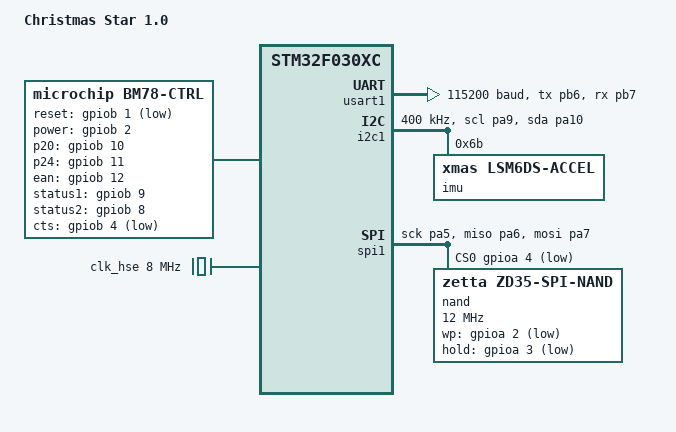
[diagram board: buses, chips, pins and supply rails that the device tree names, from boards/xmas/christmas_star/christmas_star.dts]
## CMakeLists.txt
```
# Copyright (c) 2024-2026 Tuomas Terho
# SPDX-License-Identifier: MIT

cmake_minimum_required(VERSION 3.20.0)

list(APPEND BOARD_ROOT ${CMAKE_CURRENT_SOURCE_DIR})
list(APPEND DTS_ROOT ${CMAKE_CURRENT_SOURCE_DIR})

find_package(Zephyr REQUIRED HINTS $ENV{ZEPHYR_BASE})
project(christmas_star)

target_include_directories(app PRIVATE src)

# Developer key (pairing): 32 hex digits in sw/dev_key.txt, never committed.
# Without the file, or with the environment variable STAR_NO_DEV_KEY=1 (public
# release builds), the firmware accepts no developer key.
set(DEV_KEY_FILE ${CMAKE_CURRENT_SOURCE_DIR}/dev_key.txt)
set(DEV_KEY_PRESENT 0)
set(DEV_KEY_BYTES "0")
if(EXISTS ${DEV_KEY_FILE} AND NOT "$ENV{STAR_NO_DEV_KEY}")
  set_property(DIRECTORY APPEND PROPERTY CMAKE_CONFIGURE_DEPENDS ${DEV_KEY_FILE})
  file(READ ${DEV_KEY_FILE} DEV_KEY_HEX)
  string(STRIP "${DEV_KEY_HEX}" DEV_KEY_HEX)
  string(LENGTH "${DEV_KEY_HEX}" DEV_KEY_LEN)
  if(NOT DEV_KEY_LEN EQUAL 32 OR NOT DEV_KEY_HEX MATCHES "^[0-9a-fA-F]+$")
    message(FATAL_ERROR "sw/dev_key.txt must hold 32 hex digits (16 bytes)")
  endif()
  string(REGEX REPLACE "([0-9a-fA-F][0-9a-fA-F])" "0x\\1," DEV_KEY_BYTES "${DEV_KEY_HEX}")
  set(DEV_KEY_PRESENT 1)
  message(STATUS "Developer key: from sw/dev_key.txt")
else()
  message(STATUS "Developer key: none")
endif()
file(WRITE ${CMAKE_BINARY_DIR}/app_generated/dev_key.h.tmp
  "/* Generated from sw/dev_key.txt. Do not commit. */\n"
  "#pragma once\n#include <stdint.h>\n"
  "#define DEV_KEY_PRESENT ${DEV_KEY_PRESENT}\n"
  "static const uint8_t dev_key[16] = {${DEV_KEY_BYTES}};\n")
configure_file(${CMAKE_BINARY_DIR}/app_generated/dev_key.h.tmp
  ${CMAKE_BINARY_DIR}/app_generated/dev_key.h COPYONLY)
target_include_directories(app PRIVATE ${CMAKE_BINARY_DIR}/app_generated)

target_sources(app PRIVATE
	src/main.c
	src/layout/led_layout.c
	src/layout/led_layout_table.c
	src/led/led_chain.c
	src/led/led_limit.c
	src/led/supply_monitor.c
	src/led/led_spi_dma.c
	src/led/color.c
	src/effects/engine.c
	src/effects/fx_basic.c
	src/effects/fx_golden.c
	src/effects/fx_xmas.c
	src/effects/fx_xmas2.c
	src/effects/shake_overlay.c
	src/effects/fx_player.c
	src/imu/lsm6ds.c
	src/storage/zd35_nand.c
	src/storage/effect_format.c
	src/storage/effect_store.c
	src/transfer/xmodem.c
	src/transfer/stream_frame.c
	src/bt/bm78.c
	src/bt/bm78_ad.c
	src/bt/bm78_eeprom.c
	src/pair/sha256.c
	src/pair/pair_logic.c
	src/pair/pairing.c
	src/game/comet_logic.c
	src/game/game.c
	src/game/fx_cometgame.c
	src/fw/fw_image.c
	src/fw/cmd_fw.c
	src/config/star_settings.c
	src/cli/cmd_led.c
	src/cli/direct_parse.c
	src/cli/cmd_direct.c
	src/cli/cmd_effect.c
	src/cli/cmd_hw.c
	src/cli/cmd_app.c
)
```

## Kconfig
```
# Copyright (c) 2024-2026 Tuomas Terho
# SPDX-License-Identifier: MIT

mainmenu "Christmas Star"

menu "Christmas Star"

config STAR_DEFAULT_MISSING_LEDS
	string "LEDs missing from the chain by default"
	default ""
	help
	  Space-separated list of LEDs (designators such as D259, or logical
	  indexes 0..131) whose pads are bridged on this board, so the data
	  signal skips them (on the first prototype, D259 is bridged). Used
	  until the list is changed with the "led missing" shell command,
	  which stores it in settings.

config STAR_FRAME_RATE
	int "Effect frame rate (frames per second)"
	range 10 100
	default 50

config STAR_DEFAULT_BRIGHTNESS
	int "Default global brightness (0-255)"
	range 0 255
	default 128

config STAR_LED_MA_PER_CHANNEL
	int "Estimated current of one LED colour channel at full scale (mA)"
	default 12
	help
	  Used by the current limiter to estimate the total LED current.

config STAR_DEFAULT_CURRENT_LIMIT_MA
	int "Default total LED current limit (mA)"
	default 600
	help
	  Frames whose estimated current exceeds this limit are dimmed
	  proportionally. On hardware 1.0 the 3V3 rail stays in the BM78's
	  supply range (>= 3.3 V) up to about 550 mA; above that the +5V input
	  sags and the TPS62056 drops out. The firmware also measures the 3V3
	  rail every frame and lowers the limit further if it still sags.

config STAR_DEFAULT_SHAKE_THRESHOLD_MG
	int "Default shake threshold (mg)"
	default 600

config STAR_NAND_PLANE_SELECT
	bool "Set the plane select bit in NAND column addresses"
	default y
	help
	  Two-plane SPI NAND devices take the plane (block address bit 0)
	  in column address bit 12. Single-plane devices ignore the bit.

endmenu

source "Kconfig.zephyr"
```

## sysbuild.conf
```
# Copyright (c) 2024-2026 Tuomas Terho
# SPDX-License-Identifier: MIT
#
# Build the firmware together with the MCUboot bootloader. The firmware is
# signed with sw/signing_key.pem (ECDSA P-256, never committed; create it
# with: python bootloader/mcuboot/scripts/imgtool.py keygen -k sw/signing_key.pem -t ecdsa-p256).
# MCUboot only starts images signed with this key.

SB_CONFIG_BOOTLOADER_MCUBOOT=y
SB_CONFIG_MCUBOOT_MODE_SWAP_USING_MOVE=y
SB_CONFIG_BOOT_SIGNATURE_TYPE_ECDSA_P256=y
SB_CONFIG_BOOT_SIGNATURE_KEY_FILE="\${APP_DIR}/signing_key.pem"
```

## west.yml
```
# Christmas Star firmware workspace (T2 topology: this directory is the
# manifest repository; the workspace is the repository root).
#
#   west init -l sw
#   west update

manifest:
  self:
    path: sw

  remotes:
    - name: zephyrproject-rtos
      url-base: https://github.com/zephyrproject-rtos

  projects:
    - name: zephyr
      remote: zephyrproject-rtos
      revision: v4.5.0
      clone-depth: 1
      import:
        name-allowlist:
          - cmsis
          - cmsis_6
          - hal_stm32
          - segger
          - mcuboot
```

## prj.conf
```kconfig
# Copyright (c) 2024-2026 Tuomas Terho
# SPDX-License-Identifier: MIT

# --- Drivers -----------------------------------------------------------------
CONFIG_SPI=y
CONFIG_I2C=y

# --- Settings in internal flash (NVS) ----------------------------------------
CONFIG_FLASH=y
CONFIG_FLASH_MAP=y
CONFIG_NVS=y
CONFIG_SETTINGS=y
CONFIG_SETTINGS_NVS=y
CONFIG_SETTINGS_RUNTIME=n

# --- Firmware update (MCUboot, see sysbuild.conf and src/fw/cmd_fw.c) --------
CONFIG_STREAM_FLASH=y
CONFIG_IMG_MANAGER=y
CONFIG_MCUBOOT_IMG_MANAGER=y
CONFIG_IMG_ERASE_PROGRESSIVELY=y
CONFIG_REBOOT=y

# --- Shell over the BM78 serial link ------------------------------------------
CONFIG_SHELL=y
CONFIG_SHELL_BACKEND_SERIAL=y
CONFIG_SHELL_PROMPT_UART="star:~$ "
CONFIG_SHELL_STACK_SIZE=2048
CONFIG_SHELL_CMD_BUFF_SIZE=96
CONFIG_SHELL_HISTORY=n
CONFIG_SHELL_TAB=y
CONFIG_SHELL_TAB_AUTOCOMPLETION=y
CONFIG_SHELL_HELP=y
CONFIG_SHELL_VT100_COMMANDS=n
CONFIG_SHELL_VT100_COLORS=n
CONFIG_SHELL_STATS=n
CONFIG_SHELL_CMDS_RESIZE=n
CONFIG_SHELL_CMDS_SELECT=n
CONFIG_SHELL_WILDCARD=n
CONFIG_SHELL_BACKEND_SERIAL_RX_RING_BUFFER_SIZE=512
CONFIG_SHELL_BACKEND_SERIAL_TX_RING_BUFFER_SIZE=64
CONFIG_SHELL_PRINTF_BUFF_SIZE=64
CONFIG_KERNEL_SHELL=n
CONFIG_DEVICE_SHELL=n
CONFIG_SHELL_LOG_BACKEND=n

# --- Console / logging ----------------------------------------------------------
CONFIG_CONSOLE=n
CONFIG_UART_CONSOLE=n
CONFIG_LOG=n

# --- Kernel -------------------------------------------------------------------
CONFIG_MAIN_STACK_SIZE=1024
CONFIG_ISR_STACK_SIZE=512
CONFIG_IDLE_STACK_SIZE=256
CONFIG_SYSTEM_WORKQUEUE_STACK_SIZE=768
CONFIG_HEAP_MEM_POOL_SIZE=0
CONFIG_CRC=y
CONFIG_ASSERT=n
CONFIG_REBOOT=y
```

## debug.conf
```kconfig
# Copyright (c) 2024-2026 Tuomas Terho
# SPDX-License-Identifier: MIT
#
# Debug variant: adds a second shell over SEGGER RTT (J-Link) so the star can
# be controlled before the Bluetooth link is paired, plus minimal logging.
#
#   west build --sysbuild -b christmas_star sw -d build/debug -- -DEXTRA_CONF_FILE=debug.conf

CONFIG_USE_SEGGER_RTT=y
CONFIG_SEGGER_RTT_BUFFER_SIZE_UP=512
CONFIG_SEGGER_RTT_BUFFER_SIZE_DOWN=64
CONFIG_SEGGER_RTT_MAX_NUM_UP_BUFFERS=1
CONFIG_SEGGER_RTT_MAX_NUM_DOWN_BUFFERS=1
CONFIG_SHELL_BACKEND_RTT=y
CONFIG_SHELL_PROMPT_RTT="rtt:~$ "
CONFIG_SHELL_BACKEND_RTT_BUFFER=0

CONFIG_LOG=y
CONFIG_LOG_MODE_MINIMAL=y
CONFIG_LOG_BACKEND_RTT=n
CONFIG_SHELL_LOG_BACKEND=n
# Warnings and errors only: the info messages do not fit next to the game.
CONFIG_LOG_DEFAULT_LEVEL=2
# No Ctrl-key line editing or Tab completion on the RTT shell (rtt_shell.py
# needs neither).
CONFIG_SHELL_METAKEYS=n
CONFIG_SHELL_TAB=n
# Asserts add about 16 KB, more than the 108 KB firmware slot leaves room for.
CONFIG_ASSERT=n
# Minimal logs/printk go to the RTT console, not to the Bluetooth UART.
CONFIG_CONSOLE=y
CONFIG_RTT_CONSOLE=y
CONFIG_UART_CONSOLE=n
```

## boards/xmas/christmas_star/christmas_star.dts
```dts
/*
 * Copyright (c) 2024-2026 Tuomas Terho
 * SPDX-License-Identifier: MIT
 *
 * Christmas Star hardware 1.0
 * MCU: STM32F030RCT6, 8 MHz HCMOS oscillator (X401) on PF0 (HSE bypass).
 */

/dts-v1/;
#include <st/f0/stm32f030Xc.dtsi>
#include <st/f0/stm32f030rctx-pinctrl.dtsi>
#include <zephyr/dt-bindings/led/led.h>
#include <zephyr/dt-bindings/gpio/gpio.h>

/ {
	model = "Christmas Star 1.0";
	compatible = "xmas,christmas-star";

	chosen {
		zephyr,shell-uart = &usart1;
		zephyr,sram = &sram0;
		zephyr,flash = &flash0;
		zephyr,settings-partition = &storage_partition;
		zephyr,code-partition = &slot0_partition;
	};

	aliases {
		led-strip = &led_strip;
	};

	/* BM78 Bluetooth SPP module (U502) control and status lines. */
	bm78: bm78 {
		compatible = "microchip,bm78-ctrl";
		reset-gpios = <&gpiob 1 GPIO_ACTIVE_LOW>;     /* BT-RESET    -> ~RST    */
		power-gpios = <&gpiob 2 GPIO_ACTIVE_HIGH>;    /* BT-POWER-ON -> SW_BTN  */
		p20-gpios = <&gpiob 10 GPIO_ACTIVE_HIGH>;     /* BT-CONF-0   -> P2_0    */
		p24-gpios = <&gpiob 11 GPIO_ACTIVE_HIGH>;     /* BT-CONF-1   -> P2_4    */
		ean-gpios = <&gpiob 12 GPIO_ACTIVE_HIGH>;     /* BT-CONF-EAN -> EAN     */
		status1-gpios = <&gpiob 9 GPIO_ACTIVE_HIGH>;  /* BT-STATUS-1 <- P1_5    */
		status2-gpios = <&gpiob 8 GPIO_ACTIVE_HIGH>;  /* BT-STATUS-2 <- P0_4    */
		cts-gpios = <&gpiob 4 GPIO_ACTIVE_LOW>;       /* UART-CTS    -> P1_7 (BM78 CTS input)  */
		rts-gpios = <&gpiob 3 GPIO_ACTIVE_LOW>;       /* UART-RTS    <- P0_0 (BM78 RTS output) */
	};
};

&clk_hse {
	hse-bypass;
	clock-frequency = <DT_FREQ_M(8)>;
	status = "okay";
};

&pll {
	prediv = <1>;
	mul = <6>;
	clocks = <&clk_hse>;
	status = "okay";
};

&rcc {
	clocks = <&pll>;
	clock-frequency = <DT_FREQ_M(48)>;
	ahb-prescaler = <1>;
	apb1-prescaler = <1>;
};

/* Unused ports, saves RAM. */
&gpiod {
	status = "disabled";
};

&gpiof {
	status = "disabled";
};

/* BM78 serial link (shell + XMODEM). Hardware flow control is not
 * available on PB3/PB4, so they are driven as GPIOs.
 */
&usart1 {
	pinctrl-0 = <&usart1_tx_pb6 &usart1_rx_pb7>;
	pinctrl-names = "default";
	current-speed = <115200>;
	status = "okay";
};

/* LSM6DS3 / LSM6DSL accelerometer, SA0 tied high -> 0x6B. */
&i2c1 {
	pinctrl-0 = <&i2c1_scl_pa9 &i2c1_sda_pa10>;
	pinctrl-names = "default";
	clock-frequency = <I2C_BITRATE_FAST>;
	status = "okay";

	imu: lsm6ds@6b {
		compatible = "xmas,lsm6ds-accel";
		reg = <0x6b>;
	};
};

/* ZD35Q2GC 2 Gbit SPI NAND (U403). */
&spi1 {
	pinctrl-0 = <&spi1_sck_pa5 &spi1_miso_pa6 &spi1_mosi_pa7>;
	pinctrl-names = "default";
	cs-gpios = <&gpioa 4 (GPIO_ACTIVE_LOW | GPIO_PULL_UP)>;
	status = "okay";

	nand: nand@0 {
		compatible = "zetta,zd35-spi-nand";
		reg = <0>;
		spi-max-frequency = <DT_FREQ_M(12)>;
		wp-gpios = <&gpioa 2 GPIO_ACTIVE_LOW>;
		hold-gpios = <&gpioa 3 GPIO_ACTIVE_LOW>;
	};
};

/* LED chain data on PC3 (SPI2 MOSI) -> R501 -> U501 level shifter -> D201.
 * Driven by the app's own driver (src/led/led_spi_dma.c): SPI2 transmit-only
 * at 48 MHz / 8 = 6 MHz with DMA1 channel 5, one SPI byte per LED bit:
 *   0 = 0xC0 -> 0.33 us high, 1 = 0xF8 -> 0.83 us high, 300 us latch.
 * Zephyr's SPI driver needs full-duplex DMA on the F0 and its RX DMA stalled,
 * so spi2 and dma1 stay disabled for Zephyr's drivers.
 * The pin is pulled down so the line idles low.
 */
&spi2_mosi_pc3 {
	slew-rate = "very-high-speed";
	bias-pull-down;
};

/ {
	led_strip: led-strip {
		compatible = "xmas,led-spi-dma";
		pinctrl-0 = <&spi2_mosi_pc3>;
		pinctrl-names = "default";
		chain-length = <132>;
	};
};

&flash0 {
	partitions {
		compatible = "fixed-partitions";
		#address-cells = <1>;
		#size-cells = <1>;

		/*
		 * MCUboot (32 KB), two firmware slots (108 KB each: the running
		 * one and the incoming update, swapped by MCUboot), settings.
		 */
		boot_partition: partition@0 {
			label = "mcuboot";
			reg = <0x00000000 DT_SIZE_K(32)>;
		};

		slot0_partition: partition@8000 {
			label = "image-0";
			reg = <0x00008000 DT_SIZE_K(108)>;
		};

		slot1_partition: partition@23000 {
			label = "image-1";
			reg = <0x00023000 DT_SIZE_K(108)>;
		};

		/* Last 8 KB (4 x 2 KB pages) for settings (NVS), same place as
		 * before the bootloader, so settings survive the change.
		 */
		storage_partition: partition@3e000 {
			label = "storage";
			reg = <0x0003e000 DT_SIZE_K(8)>;
		};
	};
};
```

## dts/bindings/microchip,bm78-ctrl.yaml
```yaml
# Copyright (c) 2024-2026 Tuomas Terho
# SPDX-License-Identifier: MIT

description: Control and status lines of a Microchip BM78 Bluetooth SPP module

compatible: "microchip,bm78-ctrl"

properties:
  reset-gpios:
    type: phandle-array
    required: true
  power-gpios:
    type: phandle-array
    required: true
  p20-gpios:
    type: phandle-array
    required: true
  p24-gpios:
    type: phandle-array
    required: true
  ean-gpios:
    type: phandle-array
    required: true
  status1-gpios:
    type: phandle-array
    required: true
  status2-gpios:
    type: phandle-array
    required: true
  cts-gpios:
    type: phandle-array
    description: MCU output driving the module's CTS input (asserted = module may send)
  rts-gpios:
    type: phandle-array
    description: MCU input from the module's RTS output
```

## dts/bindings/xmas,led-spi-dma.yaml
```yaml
# Copyright (c) 2024-2026 Tuomas Terho
# SPDX-License-Identifier: MIT

description: |
  WS2812-compatible LED chain driven by STM32 SPI2 in transmit-only mode with
  DMA1 channel 5 (Christmas Star). The node only carries the pin
  configuration and chain length; the driver programs SPI2 and the DMA
  directly, so the spi2 and dma1 nodes stay disabled.

compatible: "xmas,led-spi-dma"

include: pinctrl-device.yaml

properties:
  chain-length:
    type: int
    required: true
```

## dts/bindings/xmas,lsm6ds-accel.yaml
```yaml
# Copyright (c) 2024-2026 Tuomas Terho
# SPDX-License-Identifier: MIT

description: |
  ST LSM6DS3 / LSM6DSL / LSM6DS3TR-C accelerometer, minimal polled driver
  (WHO_AM_I 0x69 or 0x6A). Only the accelerometer is used.

compatible: "xmas,lsm6ds-accel"

include: i2c-device.yaml
```

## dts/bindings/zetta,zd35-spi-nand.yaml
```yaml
# Copyright (c) 2024-2026 Tuomas Terho
# SPDX-License-Identifier: MIT

description: Zetta ZD35 series SPI NAND flash (2048 + 128 byte pages, 64 pages per block)

compatible: "zetta,zd35-spi-nand"

include: spi-device.yaml

properties:
  wp-gpios:
    type: phandle-array
    description: Write protect (IO2) line, driven inactive
  hold-gpios:
    type: phandle-array
    description: Hold (IO3) line, driven inactive
  block-count:
    type: int
    default: 2048
    description: Number of 128 KB erase blocks
```

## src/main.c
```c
/*
 * Copyright (c) 2024-2026 Tuomas Terho
 * SPDX-License-Identifier: MIT
 */

/*
 * Christmas Star firmware, hardware 1.0.
 *
 * Start-up order: LED chain (applies the default missing-LED list) ->
 * settings (override defaults) -> NAND + effect store -> accelerometer ->
 * BM78 Bluetooth module -> pairing (locks the Bluetooth shell) -> effect engine with the default effect.
 * Failures of optional parts are reported in the boot banner but do not stop
 * the star from glowing.
 */

#include "bt/bm78.h"
#include "config/star_settings.h"
#include "effects/effect.h"
#include "fw/fw_update.h"
#include "imu/lsm6ds.h"
#include "led/led_chain.h"
#include "pair/pairing.h"
#include "storage/effect_store.h"
#include "storage/zd35_nand.h"

#include <zephyr/app_version.h>
#include <zephyr/kernel.h>
#include <zephyr/version.h>
#include <zephyr/shell/shell.h>

#if defined(CONFIG_SHELL_BACKEND_RTT)
#include <zephyr/shell/shell_rtt.h>
#endif
#include <zephyr/shell/shell_uart.h>

static int rc_led, rc_settings, rc_nand, rc_store, rc_imu, rc_bt, rc_pair;

static void banner(const struct shell *sh)
{
	if (sh == NULL) {
		return;
	}
	shell_print(sh, "\nChristmas Star firmware %s (Zephyr %s)", APP_VERSION_STRING,
		    KERNEL_VERSION_STRING);
	shell_print(sh, "leds %d, settings %d, nand %d, store %d, imu %d (0x%02x), bt %d, pair %d",
		    rc_led, rc_settings, rc_nand, rc_store, rc_imu, imu_who_am_i(), rc_bt, rc_pair);
	shell_print(sh, "star '%s', %s, pairing window %us", pairing_name(),
		    pairing_owned() ? "paired" : "free", pairing_window_left() / 1000);
	shell_print(sh, "effect: %s. Type 'help' for commands.", engine_get()->name);
}

int main(void)
{
	rc_led = led_chain_init();
	rc_settings = star_settings_init();

	rc_nand = nand_init();
	rc_store = rc_nand == 0 ? effect_store_init() : rc_nand;
	rc_imu = imu_init();
	rc_bt = bm78_init();
	rc_pair = pairing_init();

	star_settings_restore_effect();
	engine_start();
	fw_boot_check();

	banner(shell_backend_uart_get_ptr());
#if defined(CONFIG_SHELL_BACKEND_RTT)
	banner(shell_backend_rtt_get_ptr());
#endif
	return 0;
}
```
